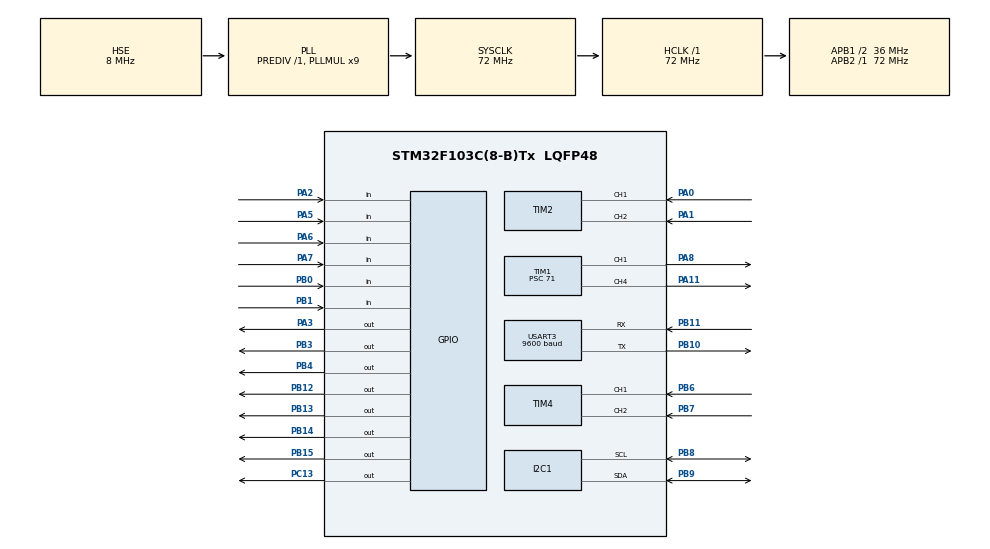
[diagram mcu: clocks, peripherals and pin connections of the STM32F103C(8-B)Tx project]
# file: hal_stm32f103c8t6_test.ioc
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I2C1.GeneralCallMode=I2C_GENERALCALL_ENABLE
I2C1.I2C_Mode=I2C_Fast
Mcu.Family=STM32F1
Mcu.Name=STM32F103C(8-B)Tx
Mcu.Package=LQFP48
NVIC.PriorityGroup=NVIC_PRIORITYGROUP_4
NVIC.USART3_IRQn=true\:5\:0\:true\:false\:true\:true\:true\:true
PA0-WKUP.Signal=S_TIM2_CH1_ETR
PA1.Signal=S_TIM2_CH2
PA11.GPIO_Speed=GPIO_SPEED_FREQ_HIGH
PA11.Signal=S_TIM1_CH4
PA13.Mode=Serial_Wire
PA13.Signal=SYS_JTMS-SWDIO
PA14.Mode=Serial_Wire
PA14.Signal=SYS_JTCK-SWCLK
PA2.GPIO_PuPd=GPIO_PULLDOWN
PA2.Signal=GPIO_Input
PA3.GPIO_Speed=GPIO_SPEED_FREQ_HIGH
PA3.Signal=GPIO_Output
PA5.GPIO_PuPd=GPIO_PULLDOWN
PA5.Signal=GPIO_Input
PA6.GPIO_PuPd=GPIO_PULLDOWN
PA6.Signal=GPIO_Input
PA7.GPIO_PuPd=GPIO_PULLDOWN
PA7.Signal=GPIO_Input
PA8.GPIO_Speed=GPIO_SPEED_FREQ_HIGH
PA8.Signal=S_TIM1_CH1
PB0.GPIO_PuPd=GPIO_PULLDOWN
PB0.Signal=GPIO_Input
PB1.GPIO_PuPd=GPIO_PULLDOWN
PB1.Signal=GPIO_Input
PB10.Mode=Asynchronous
PB10.Signal=USART3_TX
PB11.GPIO_PuPd=GPIO_PULLDOWN
PB11.Mode=Asynchronous
PB11.Signal=USART3_RX
PB12.GPIO_Speed=GPIO_SPEED_FREQ_MEDIUM
PB12.PinState=GPIO_PIN_RESET
PB12.Signal=GPIO_Output
PB13.GPIO_Speed=GPIO_SPEED_FREQ_MEDIUM
PB13.Signal=GPIO_Output
PB14.GPIO_Speed=GPIO_SPEED_FREQ_MEDIUM
PB14.Signal=GPIO_Output
PB15.GPIO_Speed=GPIO_SPEED_FREQ_MEDIUM
PB15.Signal=GPIO_Output
PB3.GPIO_ModeDefaultOutputPP=GPIO_MODE_OUTPUT_OD
PB3.GPIO_PuPd=GPIO_NOPULL
PB3.GPIO_Speed=GPIO_SPEED_FREQ_HIGH
PB3.PinState=GPIO_PIN_SET
PB3.Signal=GPIO_Output
PB4.GPIO_ModeDefaultOutputPP=GPIO_MODE_OUTPUT_OD
PB4.GPIO_PuPd=GPIO_NOPULL
PB4.GPIO_Speed=GPIO_SPEED_FREQ_HIGH
PB4.PinState=GPIO_PIN_SET
PB4.Signal=GPIO_Output
PB6.Signal=S_TIM4_CH1
PB7.Signal=S_TIM4_CH2
PB8.Mode=I2C
PB8.Signal=I2C1_SCL
PB9.Mode=I2C
PB9.Signal=I2C1_SDA
PC13-TAMPER-RTC.GPIO_ModeDefaultOutputPP=GPIO_MODE_OUTPUT_OD
PC13-TAMPER-RTC.GPIO_PuPd=GPIO_NOPULL
PC13-TAMPER-RTC.GPIO_Speed=GPIO_SPEED_FREQ_LOW
PC13-TAMPER-RTC.PinState=GPIO_PIN_RESET
PC13-TAMPER-RTC.Signal=GPIO_Output
PD0-OSC_IN.Mode=HSE-External-Oscillator
PD0-OSC_IN.Signal=RCC_OSC_IN
PD1-OSC_OUT.Mode=HSE-External-Oscillator
PD1-OSC_OUT.Signal=RCC_OSC_OUT
ProjectManager.HeapSize=0x200
ProjectManager.StackSize=0x400
ProjectManager.TargetToolchain=MDK-ARM V5.32
RCC.AHBFreq_Value=72000000
RCC.APB1CLKDivider=RCC_HCLK_DIV2
RCC.APB1Freq_Value=36000000
RCC.APB1TimFreq_Value=72000000
RCC.APB2Freq_Value=72000000
RCC.APB2TimFreq_Value=72000000
RCC.HCLKFreq_Value=72000000
RCC.PLLMUL=RCC_PLL_MUL9
RCC.PLLSourceVirtual=RCC_PLLSOURCE_HSE
RCC.SYSCLKFreq_VALUE=72000000
RCC.SYSCLKSource=RCC_SYSCLKSOURCE_PLLCLK
RCC.USBFreq_Value=72000000
SH.S_TIM1_CH1.0=TIM1_CH1,PWM Generation1 CH1
SH.S_TIM1_CH4.0=TIM1_CH4,PWM Generation4 CH4
SH.S_TIM2_CH1_ETR.0=TIM2_CH1,Encoder_Interface
SH.S_TIM2_CH2.0=TIM2_CH2,Encoder_Interface
SH.S_TIM4_CH1.0=TIM4_CH1,Encoder_Interface
SH.S_TIM4_CH2.0=TIM4_CH2,Encoder_Interface
TIM1.AutoReloadPreload=TIM_AUTORELOAD_PRELOAD_ENABLE
TIM1.Channel-PWM\ Generation1\ CH1=TIM_CHANNEL_1
TIM1.Channel-PWM\ Generation4\ CH4=TIM_CHANNEL_4
TIM1.Period=999
TIM1.Prescaler=71
TIM1.Pulse-PWM\ Generation1\ CH1=500
TIM1.Pulse-PWM\ Generation4\ CH4=500
TIM2.AutoReloadPreload=TIM_AUTORELOAD_PRELOAD_ENABLE
TIM2.EncoderMode=TIM_ENCODERMODE_TI12
TIM4.EncoderMode=TIM_ENCODERMODE_TI12
USART3.BaudRate=9600
USART3.VirtualMode=VM_ASYNC
VP_TIM1_VS_ClockSourceINT.Mode=Internal
board=custom

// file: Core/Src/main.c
/* USER CODE BEGIN Header */
/**
  ******************************************************************************
  * @file           : main.c
  * @brief          : Main program body
  ******************************************************************************
  * @attention
  *
  * Copyright (c) 2026 STMicroelectronics.
  * All rights reserved.
  *
  * This software is licensed under terms that can be found in the LICENSE file
  * in the root directory of this software component.
  * If no LICENSE file comes with this software, it is provided AS-IS.
  *
  ******************************************************************************
  */
/* USER CODE END Header */
#include "main.h"
#include "i2c.h"
#include "tim.h"
#include "usart.h"
#include "gpio.h"

/* USER CODE BEGIN Includes */
#include "app.h"
/* USER CODE END Includes */

void SystemClock_Config(void);

int main(void)
{

  /* MCU Configuration--------------------------------------------------------*/

  /* Reset of all peripherals, Initializes the Flash interface and the Systick. */
  HAL_Init();

  /* Configure the system clock */
  SystemClock_Config();

  /* Initialize all configured peripherals */
  MX_GPIO_Init();
  MX_USART3_UART_Init();
  MX_I2C1_Init();
  MX_TIM1_Init();
  MX_TIM2_Init();
  MX_TIM4_Init();
  /* USER CODE BEGIN 2 */
  app_init();
  /* USER CODE END 2 */

  /* Infinite loop */
  /* USER CODE BEGIN WHILE */
  while (1)
  {
    app_loop();
    /* USER CODE END WHILE */

  }
}

void SystemClock_Config(void)
{
  RCC_OscInitTypeDef RCC_OscInitStruct = {0};
  RCC_ClkInitTypeDef RCC_ClkInitStruct = {0};

  /** Initializes the RCC Oscillators according to the specified parameters
  * in the RCC_OscInitTypeDef structure.
  */
  RCC_OscInitStruct.OscillatorType = RCC_OSCILLATORTYPE_HSE;
  RCC_OscInitStruct.HSEState = RCC_HSE_ON;
  RCC_OscInitStruct.HSEPredivValue = RCC_HSE_PREDIV_DIV1;
  RCC_OscInitStruct.HSIState = RCC_HSI_ON;
  RCC_OscInitStruct.PLL.PLLState = RCC_PLL_ON;
  RCC_OscInitStruct.PLL.PLLSource = RCC_PLLSOURCE_HSE;
  RCC_OscInitStruct.PLL.PLLMUL = RCC_PLL_MUL9;
  if (HAL_RCC_OscConfig(&RCC_OscInitStruct) != HAL_OK)
  {
    Error_Handler();
  }

  /** Initializes the CPU, AHB and APB buses clocks
  */
  RCC_ClkInitStruct.ClockType = RCC_CLOCKTYPE_HCLK|RCC_CLOCKTYPE_SYSCLK
                              |RCC_CLOCKTYPE_PCLK1|RCC_CLOCKTYPE_PCLK2;
  RCC_ClkInitStruct.SYSCLKSource = RCC_SYSCLKSOURCE_PLLCLK;
  RCC_ClkInitStruct.AHBCLKDivider = RCC_SYSCLK_DIV1;
  RCC_ClkInitStruct.APB1CLKDivider = RCC_HCLK_DIV2;
  RCC_ClkInitStruct.APB2CLKDivider = RCC_HCLK_DIV1;

  if (HAL_RCC_ClockConfig(&RCC_ClkInitStruct, FLASH_LATENCY_2) != HAL_OK)
  {
    Error_Handler();
  }
}

/* USER CODE BEGIN 4 */
void HAL_Delay_us(uint32_t us)
{
    uint32_t start_tick = SysTick->VAL;  // 记录当前SysTick计数器值
    uint32_t ticks = us * (SystemCoreClock / 1000000);  // 需要递减的计数值（1us对应的时钟数）
    uint32_t reload = SysTick->LOAD;     // SysTick的重载值（对应1ms）
    uint32_t now_tick;

    // 防止溢出，逐段延迟
    do {
        now_tick = SysTick->VAL;
        // 计算已递减的计数值 SysTick是向下计数）
        uint32_t diff = (start_tick < now_tick) ? (reload - now_tick + start_tick) : (start_tick - now_tick);
        if (diff >= ticks) {
            break;
        }
        ticks -= diff;
        start_tick = now_tick;
    } while (1);
}

extern volatile uint32_t uwTick;
uint64_t HAL_GetTick_us(void)
{
  uint64_t read_uwTick;
  uint64_t now_ticks_us;
  do
  {
    read_uwTick = (uint64_t)uwTick; // 读取uwTick值，单位为ms
    now_ticks_us = read_uwTick * 1000 + (SysTick->LOAD - SysTick->VAL) * 1000 / SysTick->LOAD;
  }while(read_uwTick != uwTick); // 确保在读取uwTick后没有发生新的SysTick中断
  return now_ticks_us;
}
/* USER CODE END 4 */

void Error_Handler(void)
{
  __disable_irq();
  while (1)
  {
  }
}
